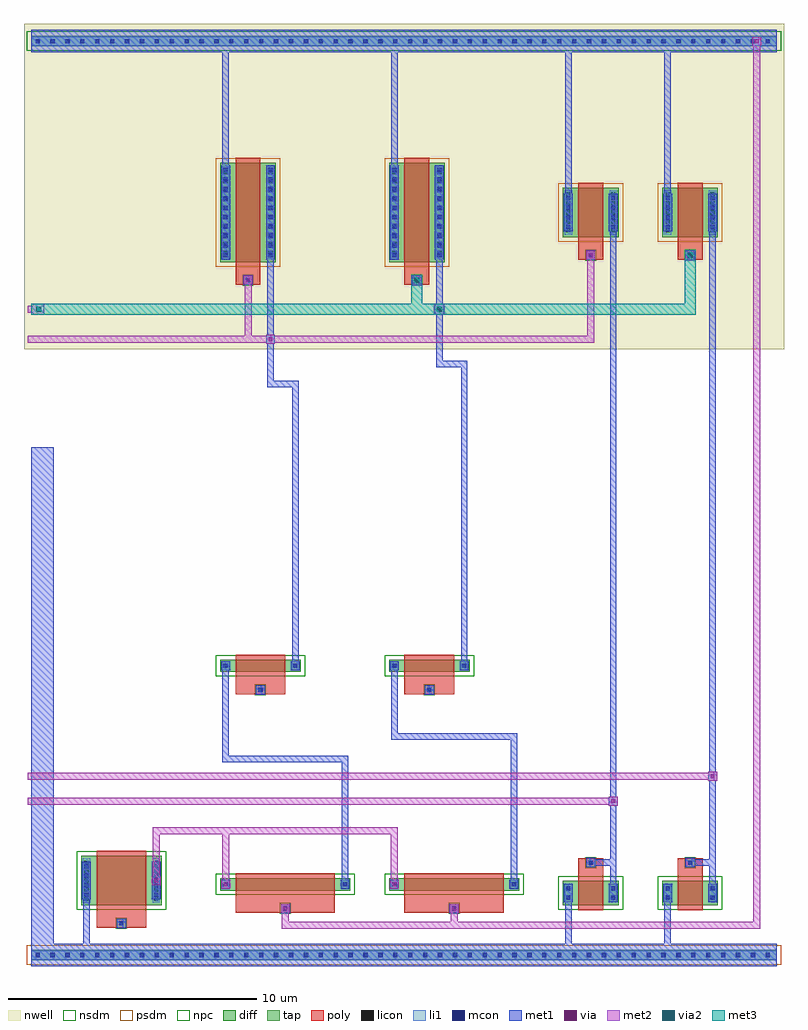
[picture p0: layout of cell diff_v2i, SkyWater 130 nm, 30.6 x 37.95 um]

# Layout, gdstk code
import gdstk
lib = gdstk.Library(unit=1e-6, precision=1e-09)
def R(c, l, rs):  # rectangles x0, y0, x1, y1
    for r in rs: c.add(gdstk.rectangle(r[:2], r[2:], *l))
def A(c, l, x, y, w, h, nx, ny, dx, dy):  # array of equal rectangles
    R(c, l, [(x+i*dx, y+j*dy, x+i*dx+w, y+j*dy+h) for i in range(nx) for j in range(ny)])
nwell = (64, 20)
diff = (65, 20)
tap = (65, 44)
poly = (66, 20)
licon = (66, 44)
li1 = (67, 20)
mcon = (67, 44)
met1 = (68, 20)
via = (68, 44)
met2 = (69, 20)
via2 = (69, 44)
met3 = (70, 20)
nsdm = (93, 44)
psdm = (94, 20)
npc = (95, 20)

diff_v2i = lib.new_cell('diff_v2i')
R(diff_v2i, nwell, [(-0.3,25,30.3,38.1)])
R(diff_v2i, diff, [(2,2.6,5.24,4.6), (21.4,2.6,23.64,3.6), (25.4,2.6,27.64,3.6), (7.6,3.2,12.84,3.7), (14.4,3.2,19.64,3.7), (7.6,12,10.84,12.5), (14.4,12,17.64,12.5), (7.6,28.5,9.84,32.5), (14.4,28.5,16.64,32.5), (21.4,29.5,23.64,31.5), (25.4,29.5,27.64,31.5)])
R(diff_v2i, tap, [(0,0.39,30,0.81), (0,37.19,30,37.61)])
R(diff_v2i, poly, [(2.62,1.7,4.62,2.6), (3.44,1.7,3.8,2.06), (8.22,2.3,12.22,3.2), (10.04,2.3,10.4,2.66), (15.02,2.3,19.02,3.2), (16.84,2.3,17.2,2.66), (2.62,2.4,4.62,4.8), (22.02,2.4,23.02,3.8), (26.02,2.4,27.02,3.8), (8.22,3,12.22,3.9), (15.02,3,19.02,3.9), (22.02,3.6,23.02,4.5), (26.02,3.6,27.02,4.5), (22.34,4.14,22.7,4.5), (26.34,4.14,26.7,4.5), (8.22,11.1,10.22,12), (9.04,11.1,9.4,11.46), (15.02,11.1,17.02,12), (15.84,11.1,16.2,11.46), (8.22,11.8,10.22,12.7), (15.02,11.8,17.02,12.7), (8.22,27.6,9.22,28.5), (8.54,27.6,8.9,27.96), (15.02,27.6,16.02,28.5), (15.34,27.6,15.7,27.96), (8.22,28.3,9.22,32.7), (15.02,28.3,16.02,32.7), (22.02,28.6,23.02,29.5), (22.34,28.6,22.7,28.96), (26.02,28.6,27.02,29.5), (26.34,28.6,26.7,28.96), (22.02,29.3,23.02,31.7), (26.02,29.3,27.02,31.7)])
A(diff_v2i, licon, 0.165, 0.515, 0.17, 0.17, 50, 2, 0.6, 36.8)
A(diff_v2i, licon, 2.13, 2.795, 0.17, 0.17, 1, 5, 0, 0.36)
A(diff_v2i, licon, 4.94, 2.795, 0.17, 0.17, 1, 5, 0, 0.36)
A(diff_v2i, licon, 7.73, 28.795, 0.17, 0.17, 1, 10, 0, 0.36)
A(diff_v2i, licon, 9.54, 28.795, 0.17, 0.17, 1, 10, 0, 0.36)
A(diff_v2i, licon, 14.53, 28.795, 0.17, 0.17, 1, 10, 0, 0.36)
A(diff_v2i, licon, 16.34, 28.795, 0.17, 0.17, 1, 10, 0, 0.36)
A(diff_v2i, licon, 21.53, 29.695, 0.17, 0.17, 1, 5, 0, 0.36)
A(diff_v2i, licon, 23.34, 29.695, 0.17, 0.17, 1, 5, 0, 0.36)
A(diff_v2i, licon, 25.53, 29.695, 0.17, 0.17, 1, 5, 0, 0.36)
A(diff_v2i, licon, 27.34, 29.695, 0.17, 0.17, 1, 5, 0, 0.36)
R(diff_v2i, licon, [(3.535,1.795,3.705,1.965), (10.135,2.395,10.305,2.565), (16.935,2.395,17.105,2.565), (21.53,2.835,21.7,3.005), (23.34,2.835,23.51,3.005), (25.53,2.835,25.7,3.005), (27.34,2.835,27.51,3.005), (21.53,3.195,21.7,3.365), (23.34,3.195,23.51,3.365), (25.53,3.195,25.7,3.365), (27.34,3.195,27.51,3.365), (7.73,3.365,7.9,3.535), (12.54,3.365,12.71,3.535), (14.53,3.365,14.7,3.535), (19.34,3.365,19.51,3.535), (22.435,4.235,22.605,4.405), (26.435,4.235,26.605,4.405), (9.135,11.195,9.305,11.365), (15.935,11.195,16.105,11.365), (7.73,12.165,7.9,12.335), (10.54,12.165,10.71,12.335), (14.53,12.165,14.7,12.335), (17.34,12.165,17.51,12.335), (8.635,27.695,8.805,27.865), (15.435,27.695,15.605,27.865), (22.435,28.695,22.605,28.865), (26.435,28.695,26.605,28.865)])
R(diff_v2i, li1, [(0,0.42,30,0.78), (3.43,1.69,3.81,2.07), (10.03,2.29,10.41,2.67), (16.83,2.29,17.21,2.67), (2.065,2.71,2.365,4.49), (4.875,2.71,5.175,4.49), (21.465,2.745,21.765,3.455), (23.275,2.745,23.575,3.455), (25.465,2.745,25.765,3.455), (27.275,2.745,27.575,3.455), (21.465,2.75,21.765,3.45), (23.275,2.75,23.575,3.45), (25.465,2.75,25.765,3.45), (27.275,2.75,27.575,3.45), (2.065,2.865,2.365,4.335), (4.875,2.865,5.175,4.335), (7.665,3.26,7.965,3.64), (12.475,3.26,12.775,3.64), (14.465,3.26,14.765,3.64), (19.275,3.26,19.575,3.64), (7.665,3.285,7.965,3.615), (12.475,3.285,12.775,3.615), (14.465,3.285,14.765,3.615), (19.275,3.285,19.575,3.615), (22.33,4.13,22.71,4.51), (26.33,4.13,26.71,4.51), (9.03,11.09,9.41,11.47), (15.83,11.09,16.21,11.47), (7.665,12.06,7.965,12.44), (10.475,12.06,10.775,12.44), (14.465,12.06,14.765,12.44), (17.275,12.06,17.575,12.44), (7.665,12.085,7.965,12.415), (10.475,12.085,10.775,12.415), (14.465,12.085,14.765,12.415), (17.275,12.085,17.575,12.415), (8.53,27.59,8.91,27.97), (15.33,27.59,15.71,27.97), (22.33,28.59,22.71,28.97), (26.33,28.59,26.71,28.97), (7.665,28.625,7.965,32.375), (9.475,28.625,9.775,32.375), (14.465,28.625,14.765,32.375), (16.275,28.625,16.575,32.375), (7.665,28.71,7.965,32.29), (9.475,28.71,9.775,32.29), (14.465,28.71,14.765,32.29), (16.275,28.71,16.575,32.29), (21.465,29.61,21.765,31.39), (23.275,29.61,23.575,31.39), (25.465,29.61,25.765,31.39), (27.275,29.61,27.575,31.39), (21.465,29.765,21.765,31.235), (23.275,29.765,23.575,31.235), (25.465,29.765,25.765,31.235), (27.275,29.765,27.575,31.235), (0,37.22,30,37.58)])
A(diff_v2i, mcon, 0.165, 0.515, 0.17, 0.17, 50, 2, 0.6, 36.8)
A(diff_v2i, mcon, 2.13, 2.945, 0.17, 0.17, 1, 4, 0, 0.38)
A(diff_v2i, mcon, 4.94, 2.945, 0.17, 0.17, 1, 4, 0, 0.38)
A(diff_v2i, mcon, 7.73, 28.705, 0.17, 0.17, 1, 10, 0, 0.38)
A(diff_v2i, mcon, 9.54, 28.705, 0.17, 0.17, 1, 10, 0, 0.38)
A(diff_v2i, mcon, 14.53, 28.705, 0.17, 0.17, 1, 10, 0, 0.38)
A(diff_v2i, mcon, 16.34, 28.705, 0.17, 0.17, 1, 10, 0, 0.38)
A(diff_v2i, mcon, 21.53, 29.845, 0.17, 0.17, 1, 4, 0, 0.38)
A(diff_v2i, mcon, 23.34, 29.845, 0.17, 0.17, 1, 4, 0, 0.38)
A(diff_v2i, mcon, 25.53, 29.845, 0.17, 0.17, 1, 4, 0, 0.38)
A(diff_v2i, mcon, 27.34, 29.845, 0.17, 0.17, 1, 4, 0, 0.38)
R(diff_v2i, mcon, [(3.535,1.795,3.705,1.965), (10.135,2.395,10.305,2.565), (16.935,2.395,17.105,2.565), (21.53,2.825,21.7,2.995), (23.34,2.825,23.51,2.995), (25.53,2.825,25.7,2.995), (27.34,2.825,27.51,2.995), (21.53,3.205,21.7,3.375), (23.34,3.205,23.51,3.375), (25.53,3.205,25.7,3.375), (27.34,3.205,27.51,3.375), (7.73,3.365,7.9,3.535), (12.54,3.365,12.71,3.535), (14.53,3.365,14.7,3.535), (19.34,3.365,19.51,3.535), (22.435,4.235,22.605,4.405), (26.435,4.235,26.605,4.405), (9.135,11.195,9.305,11.365), (15.935,11.195,16.105,11.365), (7.73,12.165,7.9,12.335), (10.54,12.165,10.71,12.335), (14.53,12.165,14.7,12.335), (17.34,12.165,17.51,12.335), (8.635,27.695,8.805,27.865), (15.435,27.695,15.605,27.865), (22.435,28.695,22.605,28.865), (26.435,28.695,26.605,28.865)])
R(diff_v2i, met1, [(0,0.15,30,1.05), (0,0.2,30,1), (2.085,0.47,2.345,3.73), (21.485,0.47,21.745,3.23), (25.485,0.47,25.745,3.23), (0,0.6,0.9,21.05), (3.43,1.69,3.81,2.07), (10.03,2.29,10.41,2.67), (16.83,2.29,17.21,2.67), (10.04,2.3,10.4,2.66), (16.84,2.3,17.2,2.66), (21.435,2.725,21.795,3.475), (23.245,2.725,23.605,3.475), (25.435,2.725,25.795,3.475), (27.245,2.725,27.605,3.475), (2.035,2.845,2.395,4.355), (4.845,2.845,5.205,4.355), (23.295,2.97,23.555,30.63), (27.295,2.97,27.555,30.63), (7.635,3.265,7.995,3.635), (12.445,3.265,12.805,3.635), (14.435,3.265,14.795,3.635), (19.245,3.265,19.605,3.635), (7.635,3.27,7.995,3.63), (14.435,3.27,14.795,3.63), (12.495,3.32,12.755,8.63), (19.295,3.32,19.555,9.53), (4.845,3.42,5.205,3.78), (22.33,4.13,22.71,4.51), (26.33,4.13,26.71,4.51), (22.39,4.19,23.555,4.45), (26.39,4.19,27.555,4.45), (23.245,6.62,23.605,6.98), (27.245,7.62,27.605,7.98), (7.685,8.37,12.755,8.63), (7.685,8.37,7.945,12.38), (14.485,9.27,19.555,9.53), (14.485,9.27,14.745,12.38), (9.03,11.09,9.41,11.47), (15.83,11.09,16.21,11.47), (7.635,12.065,7.995,12.435), (10.445,12.065,10.805,12.435), (14.435,12.065,14.795,12.435), (17.245,12.065,17.605,12.435), (10.495,12.12,10.755,23.73), (17.295,12.12,17.555,24.53), (9.495,23.47,9.755,30.63), (9.495,23.47,10.755,23.73), (16.295,24.27,17.555,24.53), (16.295,24.27,16.555,30.63), (9.445,25.22,9.805,25.58), (16.245,26.42,16.605,26.78), (8.53,27.59,8.91,27.97), (15.33,27.59,15.71,27.97), (8.54,27.6,8.9,27.96), (15.34,27.6,15.7,27.96), (22.33,28.59,22.71,28.97), (26.33,28.59,26.71,28.97), (22.34,28.6,22.7,28.96), (26.34,28.6,26.7,28.96), (7.635,28.605,7.995,32.395), (9.445,28.605,9.805,32.395), (14.435,28.605,14.795,32.395), (16.245,28.605,16.605,32.395), (21.435,29.745,21.795,31.255), (23.245,29.745,23.605,31.255), (25.435,29.745,25.795,31.255), (27.245,29.745,27.605,31.255), (7.685,30.37,7.945,37.53), (14.485,30.37,14.745,37.53), (21.485,30.37,21.745,37.53), (25.485,30.37,25.745,37.53), (0,36.95,30,37.85), (0,37,30,37.8), (29.02,37.22,29.38,37.58)])
R(diff_v2i, via, [(10.145,2.405,10.295,2.555), (16.945,2.405,17.095,2.555), (7.74,3.375,7.89,3.525), (14.54,3.375,14.69,3.525), (4.95,3.525,5.1,3.675), (23.35,6.725,23.5,6.875), (27.35,7.725,27.5,7.875), (9.55,25.325,9.7,25.475), (16.35,26.525,16.5,26.675), (8.645,27.705,8.795,27.855), (15.445,27.705,15.595,27.855), (22.445,28.705,22.595,28.855), (26.445,28.705,26.595,28.855), (29.125,37.325,29.275,37.475)])
R(diff_v2i, met2, [(10.08,1.66,29.34,1.94), (10.08,1.66,10.36,2.62), (16.88,1.66,17.16,2.62), (29.06,1.66,29.34,37.54), (10.04,2.3,10.4,2.66), (16.84,2.3,17.2,2.66), (7.635,3.27,7.995,3.63), (14.435,3.27,14.795,3.63), (7.675,3.31,7.955,5.74), (14.475,3.31,14.755,5.74), (4.845,3.42,5.205,3.78), (4.885,3.46,5.165,5.74), (4.885,5.46,14.755,5.74), (23.245,6.62,23.605,6.98), (-0.14,6.66,23.565,6.94), (27.245,7.62,27.605,7.98), (-0.14,7.66,27.565,7.94), (9.445,25.22,9.805,25.58), (-0.14,25.26,22.66,25.54), (8.58,25.26,8.86,27.92), (22.38,25.26,22.66,28.92), (0.08,26.38,0.52,26.82), (16.205,26.38,16.645,26.82), (16.245,26.42,16.605,26.78), (-0.14,26.46,0.44,26.74), (15.3,27.56,15.74,28), (8.54,27.6,8.9,27.96), (15.34,27.6,15.7,27.96), (26.3,28.56,26.74,29), (22.34,28.6,22.7,28.96), (26.34,28.6,26.7,28.96), (29.02,37.22,29.38,37.58)])
R(diff_v2i, via2, [(0.2,26.5,0.4,26.7), (16.325,26.5,16.525,26.7), (15.42,27.68,15.62,27.88), (26.42,28.68,26.62,28.88)])
R(diff_v2i, met3, [(0,26.38,26.74,26.82), (0.08,26.38,0.52,26.82), (15.3,26.38,15.74,28), (16.205,26.38,16.645,26.82), (26.3,26.38,26.74,29), (15.3,27.56,15.74,28), (26.3,28.56,26.74,29)])
R(diff_v2i, nsdm, [(1.82,2.42,5.42,4.78), (21.22,2.42,23.82,3.78), (25.22,2.42,27.82,3.78), (7.42,3.02,13.02,3.88), (14.22,3.02,19.82,3.88), (7.42,11.82,11.02,12.68), (14.22,11.82,17.82,12.68), (-0.18,37.01,30.18,37.79)])
R(diff_v2i, psdm, [(-0.18,0.21,30.18,0.99), (7.42,28.32,10.02,32.68), (14.22,28.32,16.82,32.68), (21.22,29.32,23.82,31.68), (25.22,29.32,27.82,31.68)])
R(diff_v2i, npc, [(3.4,1.66,3.84,2.1), (10,2.26,10.44,2.7), (16.8,2.26,17.24,2.7), (22.3,4.1,22.74,4.54), (26.3,4.1,26.74,4.54), (9,11.06,9.44,11.5), (15.8,11.06,16.24,11.5), (8.5,27.56,8.94,28), (15.3,27.56,15.74,28), (22.3,28.56,22.74,29), (26.3,28.56,26.74,29)])

lib.write_gds('diff_v2i.gds')
